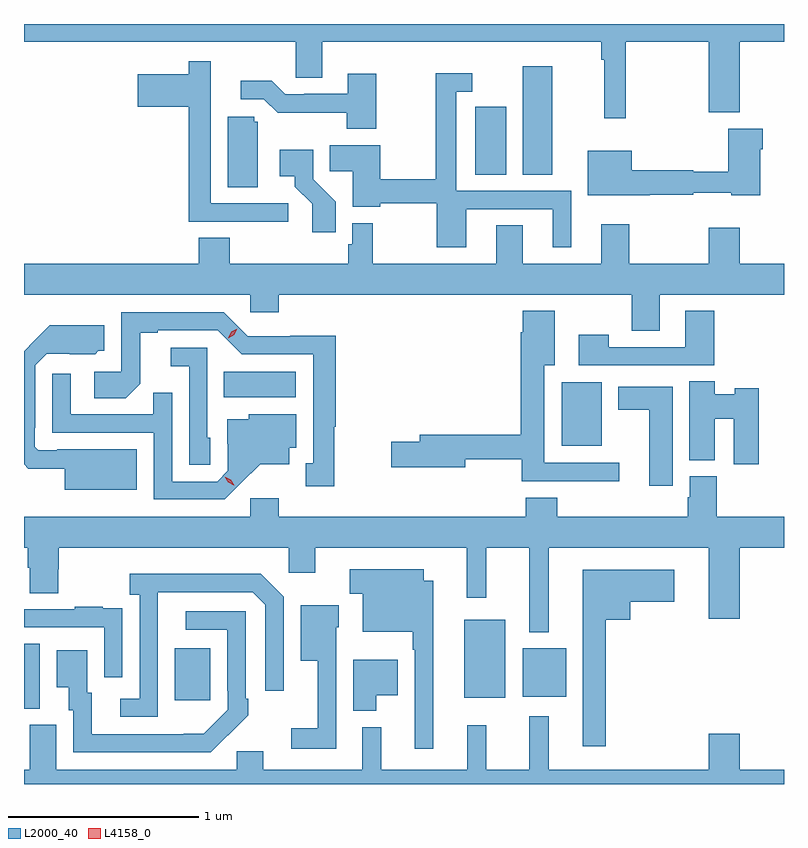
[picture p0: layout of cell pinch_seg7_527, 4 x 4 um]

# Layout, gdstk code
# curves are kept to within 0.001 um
import gdstk
lib = gdstk.Library(unit=1e-6, precision=1e-09)
def R(c, l, rs):  # rectangles x0, y0, x1, y1
    for r in rs: c.add(gdstk.rectangle(r[:2], r[2:], *l))
def P(c, l, *ps):  # polygons
    for p in ps: c.add(gdstk.Polygon(p, *l))
L2000_40 = (2000, 40)
L4158_0 = (4158, 0)

pinch_seg7_527 = lib.new_cell('pinch_seg7_527')
R(pinch_seg7_527, L2000_40, [(149.416,1070.365,149.5,1070.708), (150.209,1070.409,150.397,1070.683), (151.733,1070.423,151.948,1070.833), (152.042,1070.429,152.269,1070.683), (152.246,1071.749,152.458,1072.084), (150.466,1072.004,150.847,1072.138), (151.79,1073.176,151.954,1073.533), (152.042,1073.176,152.197,1073.746)])
P(pinch_seg7_527, L2000_40, [(152.584,1073.876),(153.02,1073.876),(153.02,1073.504),(153.184,1073.504),(153.184,1073.876),(153.416,1073.876),(153.416,1073.969),(149.416,1073.969),(149.416,1073.876),(150.846,1073.876),(150.846,1073.686),(150.985,1073.686),(150.985,1073.876),(152.455,1073.876),(152.455,1073.78),(152.47,1073.78),(152.47,1073.472),(152.584,1073.472)],
  [(150.808,1073.025),(150.399,1073.025),(150.399,1073.55),(150.4,1073.55),(150.4,1073.773),(150.283,1073.773),(150.283,1073.704),(150.015,1073.704),(150.015,1073.534),(150.283,1073.534),(150.283,1072.929),(150.583,1072.929),(150.583,1072.927),(150.808,1072.927)],
  [(151.744,1072.995),(152.198,1072.995),(152.198,1072.794),(152.296,1072.794),(152.296,1073.091),(151.692,1073.091),(151.692,1073.613),(151.774,1073.613),(151.774,1073.71),(151.584,1073.71),(151.584,1073.153),(151.29,1073.153),(151.29,1073.332),(151.024,1073.332),(151.024,1073.194),(151.145,1073.194),(151.145,1073.006),(151.29,1073.006),(151.29,1073.025),(151.588,1073.025),(151.588,1072.794),(151.744,1072.794)],
  [(151.269,1073.707),(151.121,1073.707),(151.121,1073.601),(150.892,1073.601),(150.892,1073.598),(150.792,1073.598),(150.719,1073.671),(150.558,1073.671),(150.558,1073.574),(150.678,1073.574),(150.751,1073.501),(151.114,1073.502),(151.114,1073.417),(151.269,1073.417)],
  [(150.646,1073.454),(150.627,1073.454),(150.627,1073.481),(150.488,1073.481),(150.488,1073.11),(150.646,1073.11)],
  [(152.71,1073.07),(152.938,1073.07),(152.938,1073.081),(153.138,1073.081),(153.138,1073.069),(153.292,1073.069),(153.292,1073.309),(153.305,1073.309),(153.305,1073.419),(153.122,1073.419),(153.122,1073.191),(152.938,1073.191),(152.938,1073.198),(152.614,1073.198),(152.614,1073.302),(152.384,1073.302),(152.384,1073.069),(152.71,1073.069)],
  [(151.058,1073.034),(150.939,1073.153),(150.939,1073.308),(150.762,1073.308),(150.762,1073.168),(150.842,1073.168),(150.842,1073.113),(150.933,1073.023),(150.933,1072.872),(151.058,1072.872)],
  [(152.761,1072.544),(153.416,1072.544),(153.416,1072.708),(153.184,1072.708),(153.184,1072.897),(153.02,1072.897),(153.02,1072.708),(152.601,1072.708),(152.601,1072.915),(152.453,1072.915),(152.453,1072.708),(152.041,1072.708),(152.041,1072.91),(151.901,1072.91),(151.901,1072.708),(151.252,1072.708),(151.252,1072.921),(151.143,1072.921),(151.143,1072.809),(151.123,1072.809),(151.123,1072.708),(150.5,1072.708),(150.5,1072.844),(150.335,1072.844),(150.335,1072.708),(149.416,1072.708),(149.416,1072.544),(150.606,1072.544),(150.606,1072.451),(150.758,1072.451),(150.758,1072.544),(152.614,1072.544),(152.614,1072.354),(152.761,1072.354)],
  [(153.05,1072.459),(152.897,1072.459),(152.897,1072.269),(152.493,1072.269),(152.493,1072.333),(152.337,1072.333),(152.337,1072.173),(153.05,1072.173)],
  [(152.548,1071.66),(152.155,1071.66),(152.155,1072.172),(152.209,1072.172),(152.209,1072.459),(152.042,1072.459),(152.042,1072.346),(152.03,1072.346),(152.03,1071.806),(151.499,1071.806),(151.499,1071.77),(151.35,1071.77),(151.35,1071.635),(151.738,1071.635),(151.738,1071.678),(152.035,1071.678),(152.035,1071.563),(152.548,1071.563)],
  [(151.049,1071.849),(151.057,1071.849),(151.057,1072.328),(150.816,1072.328),(150.816,1072.326),(150.594,1072.326),(150.468,1072.452),(149.928,1072.452),(149.928,1072.14),(149.787,1072.14),(149.787,1072),(149.951,1072),(150.027,1072.076),(150.027,1072.344),(150.121,1072.344),(150.121,1072.356),(150.435,1072.356),(150.561,1072.23),(150.938,1072.23),(150.938,1071.657),(150.899,1071.657),(150.899,1071.537),(151.049,1071.537)],
  [(150.01,1071.73),(149.59,1071.73),(149.59,1071.726),(149.49,1071.726),(149.472,1071.744),(149.472,1071.844),(149.475,1071.844),(149.475,1072.173),(149.535,1072.233),(149.792,1072.232),(149.808,1072.248),(149.839,1072.248),(149.839,1072.384),(149.551,1072.384),(149.416,1072.247),(149.416,1071.651),(149.438,1071.629),(149.63,1071.629),(149.63,1071.518),(150.01,1071.518)],
  [(150.396,1071.792),(150.381,1071.792),(150.381,1072.266),(150.189,1072.266),(150.189,1072.169),(150.285,1072.169),(150.285,1071.649),(150.396,1071.649)],
  [(150.556,1071.551),(150.659,1071.653),(150.811,1071.653),(150.811,1071.74),(150.85,1071.74),(150.85,1071.916),(150.6,1071.916),(150.6,1071.889),(150.485,1071.889),(150.485,1071.76),(150.489,1071.76),(150.489,1071.618),(150.432,1071.561),(150.195,1071.561),(150.195,1072.028),(150.097,1072.028),(150.097,1071.915),(149.661,1071.915),(149.661,1072.129),(149.565,1072.129),(149.565,1071.819),(150.099,1071.819),(150.099,1071.468),(150.472,1071.468)],
  [(153.282,1072.052),(153.156,1072.052),(153.156,1072.021),(153.052,1072.021),(153.052,1072.088),(152.918,1072.088),(152.918,1071.673),(153.052,1071.673),(153.052,1071.892),(153.152,1071.892),(153.152,1071.651),(153.282,1071.651)],
  [(152.83,1072.06),(152.543,1072.06),(152.543,1071.938),(152.708,1071.938),(152.708,1071.54),(152.83,1071.54)],
  [(152.075,1070.768),(152.179,1070.768),(152.179,1071.212),(153.02,1071.212),(153.02,1070.838),(153.184,1070.838),(153.184,1071.212),(153.416,1071.212),(153.416,1071.376),(153.062,1071.376),(153.062,1071.588),(152.921,1071.588),(152.921,1071.477),(152.909,1071.477),(152.909,1071.376),(152.222,1071.376),(152.222,1071.475),(152.057,1071.475),(152.057,1071.376),(150.758,1071.376),(150.758,1071.472),(150.606,1071.472),(150.606,1071.376),(149.416,1071.376),(149.416,1071.212),(149.435,1071.212),(149.435,1071.106),(149.447,1071.106),(149.447,1070.974),(149.595,1070.974),(149.595,1071.099),(149.6,1071.099),(149.6,1071.212),(150.81,1071.212),(150.81,1071.081),(150.949,1071.081),(150.949,1071.212),(151.747,1071.212),(151.747,1070.949),(151.848,1070.949),(151.848,1071.212),(152.075,1071.212)],
  [(151.57,1071.04),(151.519,1071.04),(151.519,1071.1),(151.131,1071.1),(151.131,1070.971),(151.199,1070.971),(151.199,1070.771),(151.461,1070.771),(151.461,1070.675),(151.473,1070.675),(151.473,1070.154),(151.57,1070.154)],
  [(152.479,1070.834),(152.608,1070.834),(152.608,1070.927),(152.839,1070.927),(152.839,1071.097),(152.357,1071.097),(152.357,1070.169),(152.479,1070.169)],
  [(150.12,1070.779),(150.121,1070.979),(150.621,1070.979),(150.687,1070.913),(150.687,1070.46),(150.783,1070.46),(150.783,1070.955),(150.662,1071.076),(149.973,1071.076),(149.973,1070.966),(150.024,1070.966),(150.024,1070.418),(149.922,1070.418),(149.922,1070.322),(150.12,1070.322)],
  [(151.059,1070.793),(151.072,1070.793),(151.072,1070.911),(150.872,1070.911),(150.872,1070.618),(150.962,1070.618),(150.962,1070.263),(150.822,1070.263),(150.822,1070.154),(151.059,1070.154)],
  [(149.934,1070.786),(149.933,1070.786),(149.933,1070.895),(149.831,1070.895),(149.831,1070.902),(149.683,1070.902),(149.683,1070.889),(149.416,1070.889),(149.416,1070.793),(149.838,1070.793),(149.838,1070.532),(149.934,1070.532)],
  [(150.491,1070.227),(150.492,1070.226),(150.597,1070.331),(150.597,1070.419),(150.582,1070.419),(150.582,1070.877),(150.267,1070.877),(150.267,1070.781),(150.486,1070.781),(150.486,1070.461),(150.489,1070.461),(150.489,1070.361),(150.361,1070.233),(149.773,1070.232),(149.773,1070.448),(149.749,1070.448),(149.749,1070.674),(149.588,1070.674),(149.588,1070.477),(149.651,1070.477),(149.651,1070.358),(149.676,1070.358),(149.676,1070.136),(150.4,1070.136)],
  [(151.27,1070.435),(151.384,1070.435),(151.384,1070.623),(151.148,1070.623),(151.148,1070.354),(151.27,1070.354)],
  [(152.075,1070.326),(152.075,1070.044),(151.848,1070.044),(151.848,1070.278),(151.748,1070.278),(151.748,1070.044),(151.295,1070.044),(151.295,1070.269),(151.196,1070.269),(151.196,1070.044),(150.676,1070.044),(150.676,1070.142),(150.537,1070.142),(150.537,1070.044),(149.587,1070.044),(149.587,1070.28),(149.447,1070.28),(149.447,1070.044),(149.416,1070.044),(149.416,1069.969),(153.416,1069.969),(153.416,1070.044),(153.184,1070.044),(153.184,1070.233),(153.02,1070.233),(153.02,1070.044),(152.179,1070.044),(152.179,1070.326)])
P(pinch_seg7_527, L4158_0, [(150.49,1072.315),(150.49,1072.315),(150.507,1072.348),(150.539,1072.366),(150.539,1072.366),(150.539,1072.366),(150.522,1072.333),(150.49,1072.315)],
  [(150.521,1071.541),(150.49,1071.556),(150.472,1071.585),(150.472,1071.586),(150.473,1071.586),(150.504,1071.571),(150.522,1071.541),(150.522,1071.541)])

lib.write_gds('pinch_seg7_527.gds')
